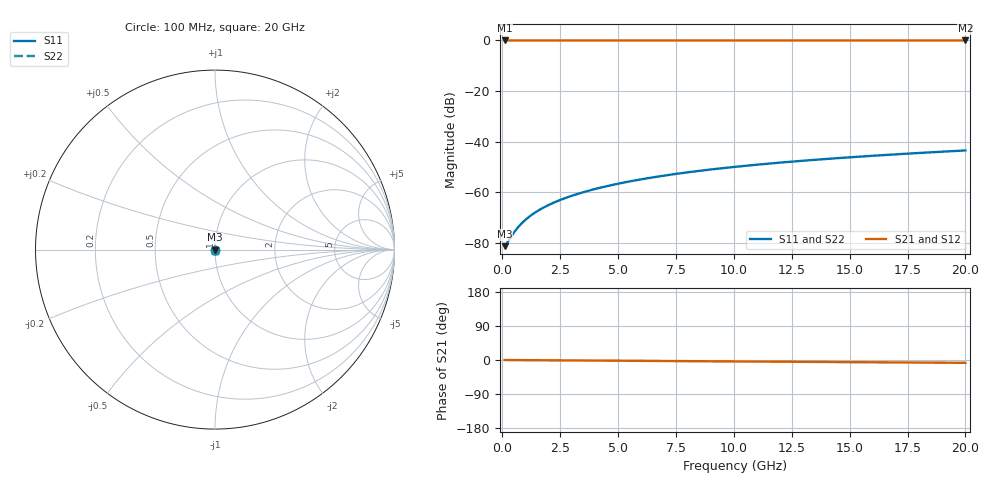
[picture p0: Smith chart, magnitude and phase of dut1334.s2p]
! Touchstone file exported from HFSS 2026.1.0
!  File:  C:/ffzhzh/LocalFiles/Ansys_Project_Files/temp_train_TSV_1334_1783195439_18472.aedt
!  Generated:  04:05:30 AM Jul  5, 2026
!  Design:  TSV
!  Project:  temp_train_TSV_1334_1783195439_18472
! Variables:
!  h_bsmrdl = 2um
!  h_ox = 20um
!  h_rdl = 5um
!  h_sub = 73.6um
!  h_tmrdl = 5um
!  h_tsv = 73.6um
!  h_via = 3um
!  l_bsmrdl = 300um
!  l_sub = 425.38um
!  l_tmrdl = 200um
!  m_sub = 200um
!  pitch = 48.1um
!  r_tsv = 12.69um
!  s_tmrdl = 10um
!  w_bsmrdl = 18um
!  w_sub = 500um
!  w_tmrdl = 12um
!  x_tsv_center1 = 206um
!  x_tsv_center2 = 524um
!  x_tsv_center3 = 736um
!  x_tsv_center4 = 1054um
!  x_tsv_center5 = 1266um
!  x_tsv_center6 = 1584um
# GHz S MA R 50.000000
! Terminal data exported
! Port[1] = TSV1_1_T1
! Port[2] = TSV1_1_T2
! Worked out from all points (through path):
!   200 points, 100 MHz to 20 GHz, reference 50 ohm
!   highest |S21| = 0.00 dB at 100 MHz (marker M1); lowest = 0.0 dB at 20 GHz (marker M2)
!   group delay of S21, straight-line fit = 1.04 ps
!   lowest |S11| = -81.4 dB at 100 MHz (marker M3), VSWR 1.00, Z = 50 + j0.000588 ohm
!   |S11| at or under -10 dB: start of sweep to end of sweep
!   |S22| runs from -81.4 to -43.5 dB; largest |S21 - S12| = 4.4e-15
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0.1  8.522e-05 4.0  0.9999 -0.0  0.9999 -0.0  8.522e-05 4.0
! Gamma 0 0 0 0
! Port Impedance 50 0 50 0
0.2  9.729e-05 5.2  0.9999 -0.1  0.9999 -0.1  9.729e-05 5.2
0.3  0.0001146 3.2  0.9999 -0.1  0.9999 -0.1  0.0001146 3.2
0.5  0.0001577 -5.8  0.9998 -0.2  0.9998 -0.2  0.0001577 -5.8
0.6  0.0001815 -11.2  0.9998 -0.2  0.9998 -0.2  0.0001815 -11.2
0.7  0.0002062 -16.3  0.9998 -0.3  0.9998 -0.3  0.0002062 -16.3
0.9  0.0002572 -25.6  0.9998 -0.3  0.9998 -0.3  0.0002572 -25.6
1.1  0.0003096 -33.3  0.9997 -0.4  0.9997 -0.4  0.0003096 -33.3
1.4  0.00039 -42.1  0.9997 -0.5  0.9997 -0.5  0.00039 -42.1
1.8  0.0005 -50.3  0.9997 -0.7  0.9997 -0.7  0.0004999 -50.3
2.3  0.0006411 -57.1  0.9996 -0.9  0.9996 -0.9  0.0006411 -57.1
2.9  0.0008157 -62.3  0.9996 -1.1  0.9996 -1.1  0.0008157 -62.3
3.5  0.0009957 -65.9  0.9996 -1.3  0.9996 -1.3  0.0009956 -65.9
4.2  0.001212 -68.9  0.9995 -1.6  0.9995 -1.6  0.001212 -68.9
5  0.001466 -71.5  0.9995 -1.9  0.9995 -1.9  0.001466 -71.5
5.9  0.001758 -73.7  0.9994 -2.2  0.9994 -2.2  0.001758 -73.8
6.8  0.002057 -75.6  0.9994 -2.6  0.9994 -2.6  0.002057 -75.6
8.3  0.002562 -78.1  0.9993 -3.1  0.9993 -3.1  0.002562 -78.1
10.1  0.003178 -80.5  0.9993 -3.8  0.9993 -3.8  0.003177 -80.5
13.4  0.004321 -83.8  0.9992 -5.0  0.9992 -5.0  0.004321 -83.9
16.7  0.005483 -86.4  0.999 -6.3  0.999 -6.3  0.005482 -86.4
20  0.006667 -88.6  0.9989 -7.5  0.9989 -7.5  0.006667 -88.6
